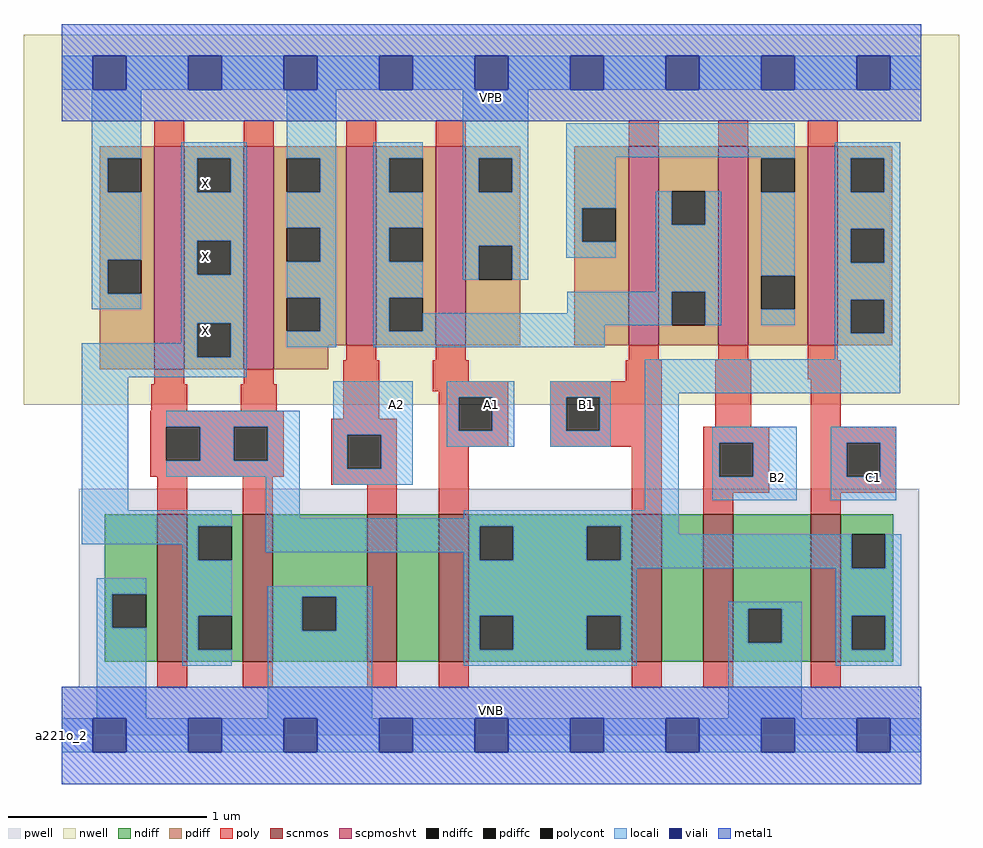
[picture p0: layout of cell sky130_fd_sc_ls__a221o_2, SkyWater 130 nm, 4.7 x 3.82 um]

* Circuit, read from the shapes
.subckt sky130_fd_sc_ls__a221o_2 A1 A2 B1 B2 C1 VGND VNB VPB VPWR X
XM1 X n1 VGND VNB sky130_fd_pr__nfet_01v8 w=0.74 l=0.15 m=2
XM2 n2 A2 VGND VNB sky130_fd_pr__nfet_01v8 w=0.74 l=0.15
XM3 n1 A1 n2 VNB sky130_fd_pr__nfet_01v8 w=0.74 l=0.15
XM4 n3 B1 n1 VNB sky130_fd_pr__nfet_01v8 w=0.74 l=0.15
XM5 VGND B2 n3 VNB sky130_fd_pr__nfet_01v8 w=0.74 l=0.15
XM6 n1 C1 VGND VNB sky130_fd_pr__nfet_01v8 w=0.74 l=0.15
XM7 X n1 VPWR VPB sky130_fd_pr__pfet_01v8_hvt w=1.12 l=0.15 m=2
XM8 n4 A2 VPWR VPB sky130_fd_pr__pfet_01v8_hvt w=1 l=0.15
XM9 VPWR A1 n4 VPB sky130_fd_pr__pfet_01v8_hvt w=1 l=0.15
XM10 n4 B1 n5 VPB sky130_fd_pr__pfet_01v8_hvt w=1 l=0.15
XM11 n5 B2 n4 VPB sky130_fd_pr__pfet_01v8_hvt w=1 l=0.15
XM12 n1 C1 n5 VPB sky130_fd_pr__pfet_01v8_hvt w=1 l=0.15
.ends

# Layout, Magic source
magic
tech sky130A
magscale 1 2
<< nwell >>
rect -38 332 902 704
<< pwell >>
rect 17 49 862 248
rect 0 0 864 49
<< scnmos >>
rect 96 74 126 222
rect 182 74 212 222
rect 307 74 337 222
rect 379 74 409 222
rect 573 74 603 222
rect 645 74 675 222
rect 753 74 783 222
<< scpmoshvt >>
rect 93 368 123 592
rect 183 368 213 592
rect 286 392 316 592
rect 376 392 406 592
rect 570 392 600 592
rect 660 392 690 592
rect 750 392 780 592
<< ndiff >>
rect 43 142 96 222
rect 43 108 51 142
rect 85 108 96 142
rect 43 74 96 108
rect 126 210 182 222
rect 126 176 137 210
rect 171 176 182 210
rect 126 120 182 176
rect 126 86 137 120
rect 171 86 182 120
rect 126 74 182 86
rect 212 139 307 222
rect 212 105 242 139
rect 276 105 307 139
rect 212 74 307 105
rect 337 74 379 222
rect 409 210 573 222
rect 409 176 420 210
rect 454 176 528 210
rect 562 176 573 210
rect 409 120 573 176
rect 409 86 420 120
rect 454 86 528 120
rect 562 86 573 120
rect 409 74 573 86
rect 603 74 645 222
rect 675 127 753 222
rect 675 93 690 127
rect 724 93 753 127
rect 675 74 753 93
rect 783 202 836 222
rect 783 168 794 202
rect 828 168 836 202
rect 783 120 836 168
rect 783 86 794 120
rect 828 86 836 120
rect 783 74 836 86
<< pdiff >>
rect 38 580 93 592
rect 38 546 46 580
rect 80 546 93 580
rect 38 478 93 546
rect 38 444 46 478
rect 80 444 93 478
rect 38 368 93 444
rect 123 580 183 592
rect 123 546 136 580
rect 170 546 183 580
rect 123 497 183 546
rect 123 463 136 497
rect 170 463 183 497
rect 123 414 183 463
rect 123 380 136 414
rect 170 380 183 414
rect 123 368 183 380
rect 213 580 286 592
rect 213 546 226 580
rect 260 546 286 580
rect 213 510 286 546
rect 213 476 226 510
rect 260 476 286 510
rect 213 440 286 476
rect 213 406 226 440
rect 260 406 286 440
rect 213 392 286 406
rect 316 580 376 592
rect 316 546 329 580
rect 363 546 376 580
rect 316 510 376 546
rect 316 476 329 510
rect 363 476 376 510
rect 316 440 376 476
rect 316 406 329 440
rect 363 406 376 440
rect 316 392 376 406
rect 406 580 461 592
rect 406 546 419 580
rect 453 546 461 580
rect 406 492 461 546
rect 406 458 419 492
rect 453 458 461 492
rect 406 392 461 458
rect 515 530 570 592
rect 515 496 523 530
rect 557 496 570 530
rect 515 392 570 496
rect 600 547 660 592
rect 600 513 613 547
rect 647 513 660 547
rect 600 446 660 513
rect 600 412 613 446
rect 647 412 660 446
rect 600 392 660 412
rect 690 580 750 592
rect 690 546 703 580
rect 737 546 750 580
rect 690 462 750 546
rect 690 428 703 462
rect 737 428 750 462
rect 690 392 750 428
rect 780 580 835 592
rect 780 546 793 580
rect 827 546 835 580
rect 780 509 835 546
rect 780 475 793 509
rect 827 475 835 509
rect 780 438 835 475
rect 780 404 793 438
rect 827 404 835 438
rect 780 392 835 404
rect 213 368 268 392
<< ndiffc >>
rect 51 108 85 142
rect 137 176 171 210
rect 137 86 171 120
rect 242 105 276 139
rect 420 176 454 210
rect 528 176 562 210
rect 420 86 454 120
rect 528 86 562 120
rect 690 93 724 127
rect 794 168 828 202
rect 794 86 828 120
<< pdiffc >>
rect 46 546 80 580
rect 46 444 80 478
rect 136 546 170 580
rect 136 463 170 497
rect 136 380 170 414
rect 226 546 260 580
rect 226 476 260 510
rect 226 406 260 440
rect 329 546 363 580
rect 329 476 363 510
rect 329 406 363 440
rect 419 546 453 580
rect 419 458 453 492
rect 523 496 557 530
rect 613 513 647 547
rect 613 412 647 446
rect 703 546 737 580
rect 703 428 737 462
rect 793 546 827 580
rect 793 475 827 509
rect 793 404 827 438
<< poly >>
rect 93 592 123 618
rect 183 592 213 618
rect 286 592 316 618
rect 376 592 406 618
rect 570 592 600 618
rect 660 592 690 618
rect 750 592 780 618
rect 286 377 316 392
rect 376 377 406 392
rect 570 377 600 392
rect 660 377 690 392
rect 750 377 780 392
rect 93 353 123 368
rect 183 353 213 368
rect 90 326 126 353
rect 180 326 216 353
rect 89 310 223 326
rect 283 318 319 377
rect 373 356 409 377
rect 567 356 603 377
rect 373 346 449 356
rect 379 340 449 346
rect 89 276 105 310
rect 139 276 173 310
rect 207 276 223 310
rect 89 260 223 276
rect 271 302 337 318
rect 271 268 287 302
rect 321 268 337 302
rect 96 222 126 260
rect 182 222 212 260
rect 271 252 337 268
rect 307 222 337 252
rect 379 306 399 340
rect 433 306 449 340
rect 379 290 449 306
rect 491 340 603 356
rect 491 306 507 340
rect 541 306 603 340
rect 657 310 693 377
rect 750 358 783 377
rect 753 310 783 358
rect 491 290 603 306
rect 379 222 409 290
rect 573 222 603 290
rect 645 294 711 310
rect 645 260 661 294
rect 695 260 711 294
rect 645 244 711 260
rect 753 294 839 310
rect 753 260 789 294
rect 823 260 839 294
rect 753 244 839 260
rect 645 222 675 244
rect 753 222 783 244
rect 96 48 126 74
rect 182 48 212 74
rect 307 48 337 74
rect 379 48 409 74
rect 573 48 603 74
rect 645 48 675 74
rect 753 48 783 74
<< polycont >>
rect 105 276 139 310
rect 173 276 207 310
rect 287 268 321 302
rect 399 306 433 340
rect 507 306 541 340
rect 661 260 695 294
rect 789 260 823 294
<< locali >>
rect 0 649 31 683
rect 65 649 127 683
rect 161 649 223 683
rect 257 649 319 683
rect 353 649 415 683
rect 449 649 511 683
rect 545 649 607 683
rect 641 649 703 683
rect 737 649 799 683
rect 833 649 864 683
rect 30 580 80 649
rect 30 546 46 580
rect 30 478 80 546
rect 30 444 46 478
rect 30 428 80 444
rect 120 580 186 596
rect 120 546 136 580
rect 170 546 186 580
rect 120 497 186 546
rect 120 463 136 497
rect 170 463 186 497
rect 120 414 186 463
rect 120 394 136 414
rect 20 380 136 394
rect 170 380 186 414
rect 226 580 276 649
rect 260 546 276 580
rect 226 510 276 546
rect 260 476 276 510
rect 226 440 276 476
rect 260 406 276 440
rect 226 390 276 406
rect 313 580 363 596
rect 313 546 329 580
rect 313 510 363 546
rect 313 476 329 510
rect 313 440 363 476
rect 403 580 469 649
rect 403 546 419 580
rect 453 546 469 580
rect 403 492 469 546
rect 403 458 419 492
rect 453 458 469 492
rect 507 581 737 615
rect 507 530 557 581
rect 703 580 737 581
rect 507 496 523 530
rect 507 480 557 496
rect 597 513 613 547
rect 647 513 663 547
rect 597 446 663 513
rect 313 406 329 440
rect 508 424 613 446
rect 363 412 613 424
rect 647 412 663 446
rect 703 462 737 546
rect 703 412 737 428
rect 777 580 843 596
rect 777 546 793 580
rect 827 546 843 580
rect 777 509 843 546
rect 777 475 793 509
rect 827 475 843 509
rect 777 438 843 475
rect 363 406 546 412
rect 313 390 546 406
rect 777 404 793 438
rect 827 404 843 438
rect 20 360 186 380
rect 777 378 843 404
rect 20 226 67 360
rect 105 310 239 326
rect 139 276 173 310
rect 207 276 239 310
rect 105 260 239 276
rect 20 210 171 226
rect 20 192 137 210
rect 121 176 137 192
rect 205 218 239 260
rect 273 302 353 356
rect 273 268 287 302
rect 321 268 353 302
rect 387 340 455 356
rect 387 306 399 340
rect 433 306 455 340
rect 387 290 455 306
rect 491 340 552 356
rect 491 306 507 340
rect 541 306 552 340
rect 491 290 552 306
rect 586 344 843 378
rect 273 252 353 268
rect 586 226 620 344
rect 654 294 739 310
rect 654 260 661 294
rect 695 260 739 294
rect 654 236 739 260
rect 773 294 839 310
rect 773 260 789 294
rect 823 260 839 294
rect 773 236 839 260
rect 404 218 620 226
rect 205 210 620 218
rect 205 184 420 210
rect 35 142 85 158
rect 35 108 51 142
rect 35 17 85 108
rect 121 120 171 176
rect 404 176 420 184
rect 454 176 528 210
rect 562 202 620 210
rect 562 176 794 202
rect 404 168 794 176
rect 828 168 844 202
rect 121 86 137 120
rect 121 70 171 86
rect 207 139 312 150
rect 207 105 242 139
rect 276 105 312 139
rect 207 17 312 105
rect 404 120 578 168
rect 404 86 420 120
rect 454 86 528 120
rect 562 86 578 120
rect 404 70 578 86
rect 670 127 744 134
rect 670 93 690 127
rect 724 93 744 127
rect 670 17 744 93
rect 778 120 844 168
rect 778 86 794 120
rect 828 86 844 120
rect 778 70 844 86
rect 0 -17 31 17
rect 65 -17 127 17
rect 161 -17 223 17
rect 257 -17 319 17
rect 353 -17 415 17
rect 449 -17 511 17
rect 545 -17 607 17
rect 641 -17 703 17
rect 737 -17 799 17
rect 833 -17 864 17
<< viali >>
rect 31 649 65 683
rect 127 649 161 683
rect 223 649 257 683
rect 319 649 353 683
rect 415 649 449 683
rect 511 649 545 683
rect 607 649 641 683
rect 703 649 737 683
rect 799 649 833 683
rect 31 -17 65 17
rect 127 -17 161 17
rect 223 -17 257 17
rect 319 -17 353 17
rect 415 -17 449 17
rect 511 -17 545 17
rect 607 -17 641 17
rect 703 -17 737 17
rect 799 -17 833 17
<< metal1 >>
rect 0 683 864 715
rect 0 649 31 683
rect 65 649 127 683
rect 161 649 223 683
rect 257 649 319 683
rect 353 649 415 683
rect 449 649 511 683
rect 545 649 607 683
rect 641 649 703 683
rect 737 649 799 683
rect 833 649 864 683
rect 0 617 864 649
rect 0 17 864 49
rect 0 -17 31 17
rect 65 -17 127 17
rect 161 -17 223 17
rect 257 -17 319 17
rect 353 -17 415 17
rect 449 -17 511 17
rect 545 -17 607 17
rect 641 -17 703 17
rect 737 -17 799 17
rect 833 -17 864 17
rect 0 -49 864 -17
<< labels >>
rlabel comment s 0 0 0 0 4 a221o_2
flabel pwell s 0 0 864 49 0 FreeSans 200 0 0 0 VNB
port 7 nsew ground bidirectional
flabel nwell s 0 617 864 666 0 FreeSans 200 0 0 0 VPB
port 8 nsew power bidirectional
flabel metal1 s 0 617 864 666 0 FreeSans 340 0 0 0 VPWR
port 9 nsew power bidirectional abutment
flabel metal1 s 0 0 864 49 0 FreeSans 340 0 0 0 VGND
port 6 nsew ground bidirectional abutment
flabel locali s 799 242 833 276 0 FreeSans 340 0 0 0 C1
port 5 nsew signal input
flabel locali s 703 242 737 276 0 FreeSans 340 0 0 0 B2
port 4 nsew signal input
flabel locali s 511 316 545 350 0 FreeSans 340 0 0 0 B1
port 3 nsew signal input
flabel locali s 319 316 353 350 0 FreeSans 340 0 0 0 A2
port 2 nsew signal input
flabel locali s 415 316 449 350 0 FreeSans 340 0 0 0 A1
port 1 nsew signal input
flabel locali s 127 390 161 424 0 FreeSans 340 0 0 0 X
port 10 nsew signal output
flabel locali s 127 464 161 498 0 FreeSans 340 0 0 0 X
port 10 nsew signal output
flabel locali s 127 538 161 572 0 FreeSans 340 0 0 0 X
port 10 nsew signal output
<< properties >>
string LEFsite unit
string LEFclass CORE
string FIXED_BBOX 0 0 864 666
string GDS_FILE $PDKPATH/libs.ref/sky130_fd_sc_ls/gds/sky130_fd_sc_ls.gds
string LEFsymmetry X Y
string GDS_END 3938286
string GDS_START 3929968
<< end >>
